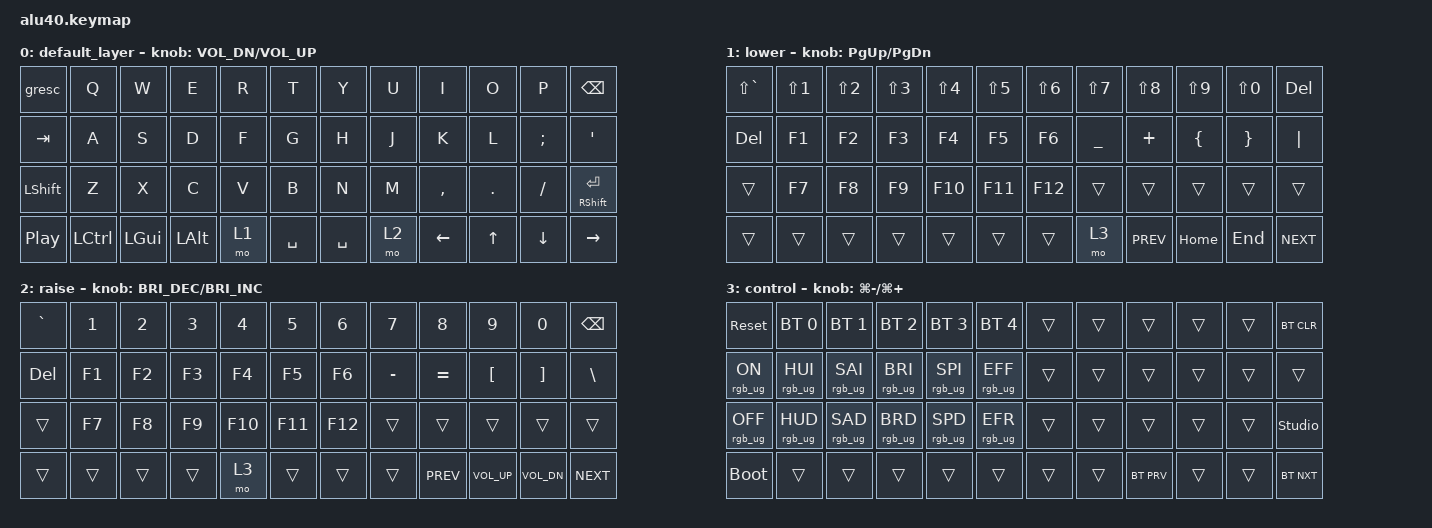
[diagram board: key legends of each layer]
/*
 * Copyright (c) 2022 The ZMK Contributors
 *
 * SPDX-License-Identifier: MIT
 */

#include <behaviors.dtsi>
#include <dt-bindings/zmk/keys.h>
#include <dt-bindings/zmk/bt.h>
#include <dt-bindings/zmk/rgb.h>

/*
 * Compensate for the repeatable 96% full-charge report seen across multiple
 * fresh batteries. The upstream board assumes a 2.000 divider ratio; this
 * applies a conservative 0.8% reporting correction.
 */
&vbatt {
    full-ohms = <201600>;
};

/ {
    keymap {
        compatible = "zmk,keymap";

        default_layer {
            // -----------------------------------------------------------------------------------------
            // | ESC/~ |  Q   |  W   |  E   |  R   |  T   |   Y   |  U    |  I   |  O   |   P   | BSPC  |
            // | TAB   |  A   |  S   |  D   |  F   |  G   |   H   |  J    |  K   |  L   |   ;   |  '    |
            // | SHIFT |  Z   |  X   |  C   |  V   |  B   |   N   |  M    |  ,   |  .   |   /   |RET/SFT|
            // | PLAY  | LCTL | LGUI | LALT | LOWR |     SPACE    |  RAIS | LARW | UARW | DARW  |  RARW |

            bindings = <
                &gresc     &kp Q      &kp W     &kp E     &kp R  &kp T      &kp Y      &kp U  &kp I      &kp O    &kp P     &kp BSPC
                &kp TAB    &kp A      &kp S     &kp D     &kp F  &kp G      &kp H      &kp J  &kp K      &kp L    &kp SEMI  &kp SQT
                &kp LSHFT  &kp Z      &kp X     &kp C     &kp V  &kp B      &kp N      &kp M  &kp COMMA  &kp DOT  &kp FSLH  &mt RSHFT RET
                &kp C_PP   &kp LCTRL  &kp LGUI  &kp LALT  &mo 1  &kp SPACE  &kp SPACE  &mo 2  &kp LEFT   &kp UP   &kp DOWN  &kp RIGHT
            >;

            sensor-bindings = <&inc_dec_kp C_VOL_DN C_VOL_UP>;
        };

        lower {
            bindings = <
                &kp LS(GRAVE)  &kp LS(N1)  &kp LS(N2)  &kp LS(N3)  &kp LS(N4)  &kp LS(N5)  &kp LS(N6)  &kp LS(N7)  &kp LS(N8)  &kp LS(N9)  &kp LS(N0)  &kp DEL
                &kp DEL        &kp F1      &kp F2      &kp F3      &kp F4      &kp F5      &kp F6      &kp UNDER   &kp PLUS    &kp LBRC    &kp RBRC    &kp PIPE
                &trans         &kp F7      &kp F8      &kp F9      &kp F10     &kp F11     &kp F12     &trans      &trans      &trans      &trans      &trans
                &trans         &trans      &trans      &trans      &trans      &trans      &trans      &mo 3       &kp C_PREV  &kp HOME    &kp END     &kp C_NEXT
            >;

            sensor-bindings = <&inc_dec_kp PG_UP PG_DN>;
        };

        raise {
            bindings = <
                &kp GRAVE  &kp N1  &kp N2  &kp N3  &kp N4   &kp N5   &kp N6   &kp N7     &kp N8      &kp N9        &kp N0        &kp BSPC
                &kp DEL    &kp F1  &kp F2  &kp F3  &kp F4   &kp F5   &kp F6   &kp MINUS  &kp EQUAL   &kp LBKT      &kp RBKT      &kp BSLH
                &trans     &kp F7  &kp F8  &kp F9  &kp F10  &kp F11  &kp F12  &trans     &trans      &trans        &trans        &trans
                &trans     &trans  &trans  &trans  &mo 3    &trans   &trans   &trans     &kp C_PREV  &kp C_VOL_UP  &kp C_VOL_DN  &kp C_NEXT
            >;

            sensor-bindings = <&inc_dec_kp C_BRI_DEC C_BRI_INC>;
        };

        control {
            bindings = <
                &sys_reset       &bt BT_SEL 0     &bt BT_SEL 1     &bt BT_SEL 2     &bt BT_SEL 3     &bt BT_SEL 4     &trans  &trans  &trans      &trans  &trans  &bt BT_CLR
                &rgb_ug RGB_ON   &rgb_ug RGB_HUI  &rgb_ug RGB_SAI  &rgb_ug RGB_BRI  &rgb_ug RGB_SPI  &rgb_ug RGB_EFF  &trans  &trans  &trans      &trans  &trans  &trans
                &rgb_ug RGB_OFF  &rgb_ug RGB_HUD  &rgb_ug RGB_SAD  &rgb_ug RGB_BRD  &rgb_ug RGB_SPD  &rgb_ug RGB_EFR  &trans  &trans  &trans      &trans  &trans  &studio_unlock
                &bootloader      &trans           &trans           &trans           &trans           &trans           &trans  &trans  &bt BT_PRV  &trans  &trans  &bt BT_NXT
            >;

            sensor-bindings = <&inc_dec_kp LG(MINUS) LG(PLUS)>;
        };
        extra1 {
            status = "reserved";
        };
        extra2 {
            status = "reserved";
        };
        extra3 {
            status = "reserved";
        };
        extra4 {
            status = "reserved";
        };
    };
};
